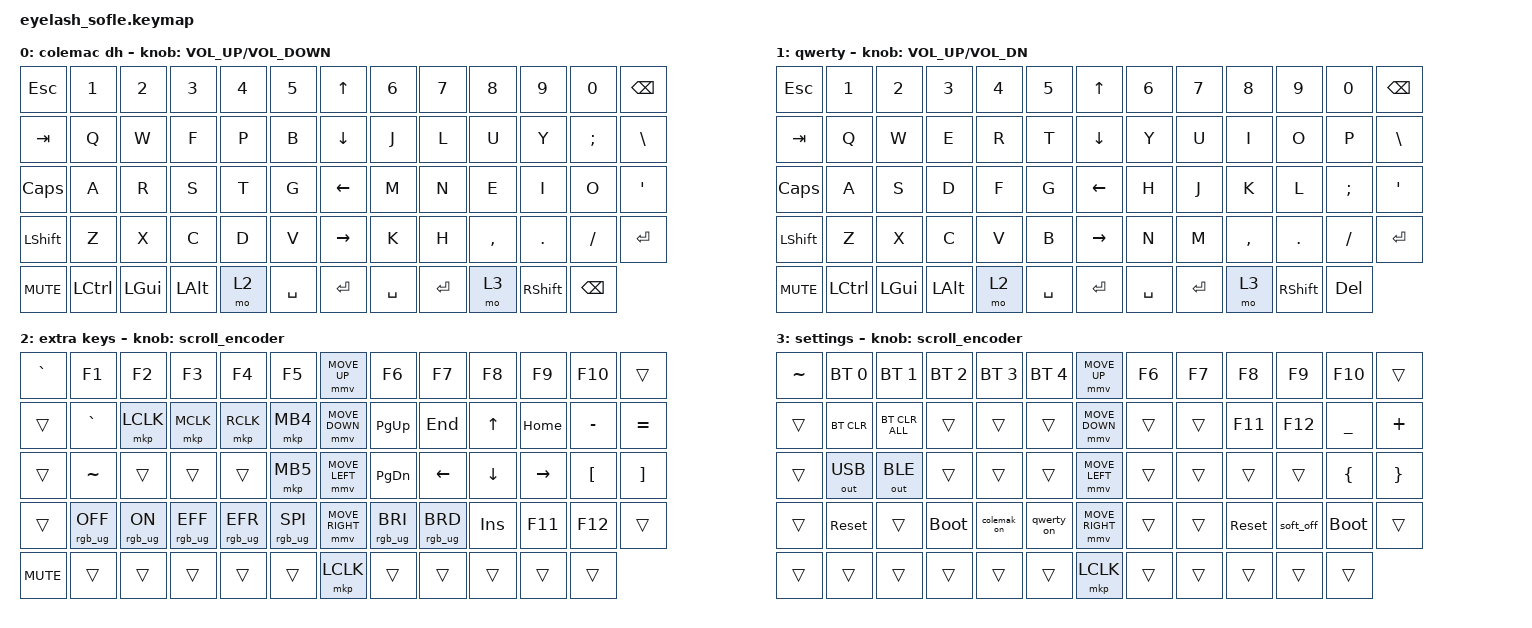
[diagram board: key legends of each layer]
#define ZMK_POINTING_DEFAULT_MOVE_VAL 1200  // 600
#define ZMK_POINTING_DEFAULT_SCRL_VAL 25   // 10

#include <input/processors.dtsi>
#include <zephyr/dt-bindings/input/input-event-codes.h>
#include <behaviors.dtsi>
#include <dt-bindings/zmk/bt.h>
#include <dt-bindings/zmk/keys.h>
#include <dt-bindings/zmk/outputs.h>
#include <dt-bindings/zmk/pointing.h>
#include <dt-bindings/zmk/rgb.h>

&mmv_input_listener { input-processors = <&zip_xy_scaler 2 1>; };

&msc_input_listener { input-processors = <&zip_scroll_scaler 2 1>; };

&msc {
    acceleration-exponent = <1>;      // 0
    time-to-max-speed-ms = <100>;       // 300
    delay-ms = <0>;                   // 0
};

&mmv {
    time-to-max-speed-ms = <500>;
    acceleration-exponent = <1>;
    trigger-period-ms = <16>;
};

&soft_off { hold-time-ms = <2000>; };

/ {
    scroll_encoder: scroll_encoder {
        compatible = "zmk,behavior-sensor-rotate";
        #sensor-binding-cells = <0>;
        bindings = <&msc SCRL_DOWN>, <&msc SCRL_UP>;

        tap-ms = <100>;
    };

    behaviors {
        qwerty_on: qwerty_on {
            compatible = "zmk,behavior-macro";
            #binding-cells = <0>;
            bindings = <&tog 1 &tog 0>;
        };

        colemak_on: colemak_on {
            compatible = "zmk,behavior-macro";
            #binding-cells = <0>;
            bindings = <&tog 0 &tog 1>;
        };
    };

    combos {
        compatible = "zmk,combos";

        softoff {
            bindings = <&soft_off>;
            key-positions = <14 28 40>;
        };
    };

    macros {
        SHIFT_MCLK: SHIFT_MCLK {
            compatible = "zmk,behavior-macro";
            #binding-cells = <0>;
            bindings =
                <&macro_press>,
                <&kp LEFT_SHIFT>,
                <&macro_press>,
                <&mkp MB3>,
                <&macro_pause_for_release>,
                <&macro_release>,
                <&kp LEFT_SHIFT &mkp MB3>;

            label = "SHIFT_MCLK";
        };
    };

    keymap {
        compatible = "zmk,keymap";

        colemac-dh {
            bindings = <
&kp ESC     &kp N1     &kp N2    &kp N3    &kp N4  &kp N5       &kp UP_ARROW     &kp N6     &kp N7     &kp N8     &kp N9     &kp N0         &kp BSPC
&kp TAB     &kp Q      &kp W     &kp F     &kp P   &kp B        &kp DOWN_ARROW   &kp J      &kp L      &kp U      &kp Y      &kp SEMICOLON  &kp BSLH
&kp CAPS    &kp A      &kp R     &kp S     &kp T   &kp G        &kp LEFT_ARROW   &kp M      &kp N      &kp E      &kp I      &kp O          &kp SQT
&kp LSHFT   &kp Z      &kp X     &kp C     &kp D   &kp V        &kp RIGHT_ARROW  &kp K      &kp H      &kp COMMA  &kp DOT    &kp FSLH       &kp RET
&kp K_MUTE  &kp LCTRL  &kp LGUI  &kp LALT  &mo 2   &kp SPACE    &kp ENTER        &kp SPACE  &kp ENTER  &mo 3      &kp RSHFT  &kp BSPC
            >;

            display-name = "colemac dh";
            sensor-bindings = <&inc_dec_kp C_VOLUME_UP C_VOLUME_DOWN>;
        };

        qwerty {
            bindings = <
&kp ESC     &kp N1     &kp N2        &kp N3        &kp N4  &kp N5       &kp UP_ARROW     &kp N6     &kp N7     &kp N8     &kp N9           &kp N0      &kp BACKSPACE
&kp TAB     &kp Q      &kp W         &kp E         &kp R   &kp T        &kp DOWN_ARROW   &kp Y      &kp U      &kp I      &kp O            &kp P       &kp BSLH
&kp CAPS    &kp A      &kp S         &kp D         &kp F   &kp G        &kp LEFT_ARROW   &kp H      &kp J      &kp K      &kp L            &kp SEMI    &kp APOS
&kp LSHFT   &kp Z      &kp X         &kp C         &kp V   &kp B        &kp RIGHT_ARROW  &kp N      &kp M      &kp COMMA  &kp DOT          &kp FSLH    &kp ENTER
&kp C_MUTE  &kp LCTRL  &kp LEFT_GUI  &kp LEFT_ALT  &mo 2   &kp SPACE    &kp ENTER        &kp SPACE  &kp ENTER  &mo 3      &kp RIGHT_SHIFT  &kp DELETE
            >;

            sensor-bindings = <&inc_dec_kp C_VOLUME_UP C_VOL_DN>;
            display-name = "qwerty";
        };

        extra_keys {
            bindings = <
&kp GRAVE   &kp F1           &kp F2          &kp F3           &kp F4           &kp F5             &mmv MOVE_UP     &kp F6           &kp F7           &kp F8      &kp F9     &kp F10           &trans
&trans      &kp GRAVE        &mkp LCLK       &mkp MCLK        &mkp RCLK        &mkp MB4           &mmv MOVE_DOWN   &kp PG_UP        &kp END          &kp UP      &kp HOME   &kp MINUS         &kp EQUAL
&trans      &kp TILDE        &trans          &trans           &trans           &mkp MB5           &mmv MOVE_LEFT   &kp PG_DN        &kp LEFT         &kp DOWN    &kp RIGHT  &kp LEFT_BRACKET  &kp RIGHT_BRACKET
&trans      &rgb_ug RGB_OFF  &rgb_ug RGB_ON  &rgb_ug RGB_EFF  &rgb_ug RGB_EFR  &rgb_ug RGB_SPI    &mmv MOVE_RIGHT  &rgb_ug RGB_BRI  &rgb_ug RGB_BRD  &kp INSERT  &kp F11    &kp F12           &trans
&kp C_MUTE  &trans           &trans          &trans           &trans           &trans             &mkp LCLK        &trans           &trans           &trans      &trans     &trans
            >;

            display-name = "extra keys";
            sensor-bindings = <&scroll_encoder>;
        };

        settings {
            bindings = <
&kp TILDE  &bt BT_SEL 0  &bt BT_SEL 1    &bt BT_SEL 2  &bt BT_SEL 3  &bt BT_SEL 4    &mmv MOVE_UP     &kp F6  &kp F7  &kp F8      &kp F9     &kp F10      &trans
&trans     &bt BT_CLR    &bt BT_CLR_ALL  &trans        &trans        &trans          &mmv MOVE_DOWN   &trans  &trans  &kp F11     &kp F12    &kp UNDER    &kp PLUS
&trans     &out OUT_USB  &out OUT_BLE    &trans        &trans        &trans          &mmv MOVE_LEFT   &trans  &trans  &trans      &trans     &kp LBRC     &kp RBRC
&trans     &sys_reset    &trans          &bootloader   &colemak_on   &qwerty_on      &mmv MOVE_RIGHT  &trans  &trans  &sys_reset  &soft_off  &bootloader  &trans
&trans     &trans        &trans          &trans        &trans        &trans          &mkp LCLK        &trans  &trans  &trans      &trans     &trans
            >;

            display-name = "settings";
            sensor-bindings = <&scroll_encoder>;
        };
    };
};

